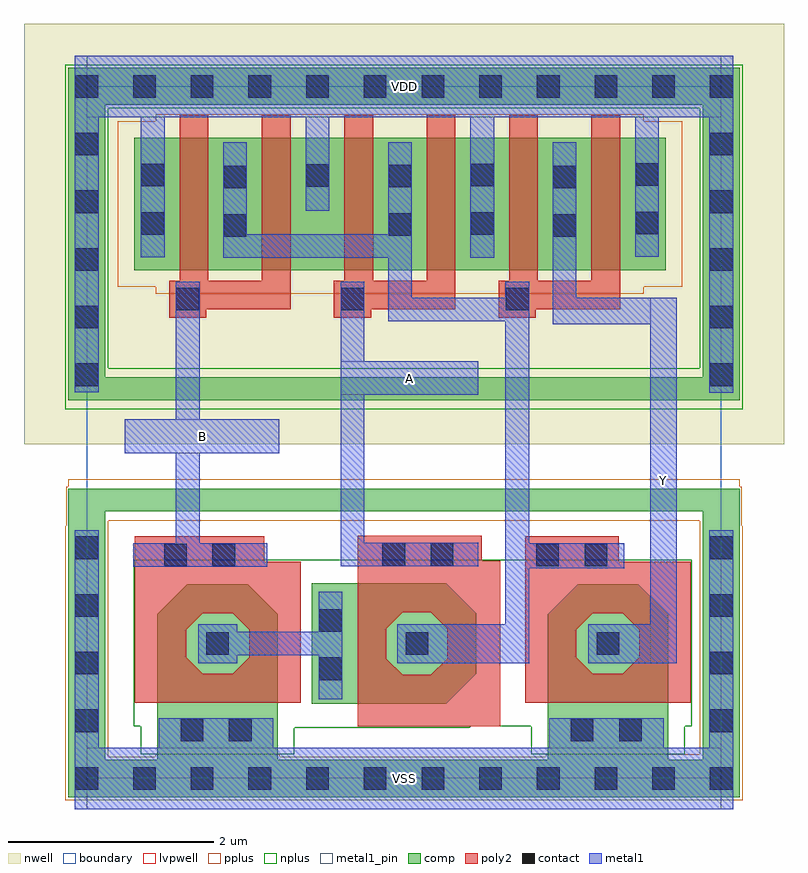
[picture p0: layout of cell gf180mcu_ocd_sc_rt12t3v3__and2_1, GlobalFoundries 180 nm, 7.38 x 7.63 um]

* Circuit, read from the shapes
.subckt gf180mcu_ocd_sc_rt12t3v3__and2_1 A B VDD VSS Y
XM1 n1 B VSS VSS nfet_03v3 w=1.785u l=0.5354u
XM2 n2 A n1 VSS nfet_03v3 w=1.785u l=0.5375u
XM3 Y n2 VSS VSS nfet_03v3 w=1.785u l=0.5347u
XM4 n2 B VDD VDD pfet_03v3 w=1.285u l=0.28u m=2
XM5 n2 A VDD VDD pfet_03v3 w=1.285u l=0.28u m=2
XM6 Y n2 VDD VDD pfet_03v3 w=1.285u l=0.28u m=2
.ends

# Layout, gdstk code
import gdstk
lib = gdstk.Library(unit=1e-6, precision=1e-09)
def R(c, l, rs):  # rectangles x0, y0, x1, y1
    for r in rs: c.add(gdstk.rectangle(r[:2], r[2:], *l))
def A(c, l, x, y, w, h, nx, ny, dx, dy):  # array of equal rectangles
    R(c, l, [(x+i*dx, y+j*dy, x+i*dx+w, y+j*dy+h) for i in range(nx) for j in range(ny)])
def P(c, l, *ps):  # polygons
    for p in ps: c.add(gdstk.Polygon(p, *l))
boundary = (0, 0)
nwell = (21, 0)
comp = (22, 0)
poly2 = (30, 0)
pplus = (31, 0)
nplus = (32, 0)
contact = (33, 0)
metal1 = (34, 0)
metal1_pin = (34, 10)
lvpwell = (204, 0)

gf180mcu_ocd_sc_rt12t3v3 = lib.new_cell('gf180mcu_ocd_sc_rt12t3v3__and2_1')
R(gf180mcu_ocd_sc_rt12t3v3, boundary, [(0,0,6.16,6.72)])
R(gf180mcu_ocd_sc_rt12t3v3, nwell, [(-0.61,3.245,6.77,7.33)])
R(gf180mcu_ocd_sc_rt12t3v3, comp, [(-0.18,-0.18,6.34,0.18), (-0.18,0.18,0.18,2.595), (0.685,0.18,1.855,1.595), (4.475,0.18,5.645,1.595), (5.98,0.18,6.34,2.595), (2.185,0.725,3.49,1.015), (2.185,1.015,3.78,1.605), (0.975,1.595,1.565,1.885), (4.675,1.595,5.355,1.795), (2.185,1.605,3.59,1.795), (2.185,1.795,3.49,1.895), (4.765,1.795,5.355,1.885), (-0.18,2.595,6.34,2.815), (-0.18,3.675,6.34,3.895), (-0.18,3.895,0.18,6.54), (5.98,3.895,6.34,6.54), (0.46,4.935,5.62,6.22), (-0.18,6.54,6.34,6.9)])
P(gf180mcu_ocd_sc_rt12t3v3, comp, [(0.685,1.595),(0.975,1.595),(0.975,1.885)],
  [(1.565,1.885),(1.565,1.595),(1.855,1.595)],
  [(3.49,1.895),(3.49,1.795),(3.59,1.795)],
  [(4.675,1.795),(4.765,1.795),(4.765,1.885)],
  [(3.59,1.795),(3.59,1.605),(3.78,1.605)],
  [(3.49,0.725),(3.49,1.015),(3.78,1.015)],
  [(4.475,1.595),(4.675,1.595),(4.675,1.795)],
  [(5.355,1.885),(5.355,1.595),(5.645,1.595)])
A(gf180mcu_ocd_sc_rt12t3v3, poly2, 0.8, 4.475, 0.36, 0.08, 3, 1, 1.6, 0)
A(gf180mcu_ocd_sc_rt12t3v3, poly2, 0.8, 4.555, 1.18, 0.28, 3, 1, 1.6, 0)
A(gf180mcu_ocd_sc_rt12t3v3, poly2, 0.9, 4.835, 0.28, 1.605, 6, 1, 0.8, 0)
R(gf180mcu_ocd_sc_rt12t3v3, poly2, [(2.63,0.505,4.015,1.005), (0.465,0.735,2.075,1.015), (4.255,0.735,5.865,1.015), (2.63,1.005,2.91,1.615), (3.49,1.005,4.015,1.155), (0.465,1.015,0.965,1.595), (1.575,1.015,2.075,1.595), (4.255,1.015,4.755,1.595), (5.365,1.015,5.865,1.595), (3.5,1.155,4.015,1.615), (0.465,1.595,1.115,1.605), (1.425,1.595,2.075,1.605), (4.255,1.595,4.905,1.605), (5.215,1.595,5.865,1.605), (0.465,1.605,2.075,2.105), (4.255,1.605,5.865,2.105), (2.63,1.615,4.015,2.115), (0.465,2.105,1.725,2.35), (4.255,2.105,5.165,2.35), (2.63,2.115,3.835,2.355)])
P(gf180mcu_ocd_sc_rt12t3v3, poly2, [(1.115,1.595),(1.115,1.605),(1.125,1.605)],
  [(1.415,1.605),(1.425,1.605),(1.425,1.595)],
  [(0.965,1.445),(0.965,1.595),(1.115,1.595)],
  [(1.425,1.595),(1.575,1.595),(1.575,1.445)],
  [(0.965,1.175),(0.965,1.015),(1.125,1.015)],
  [(1.415,1.015),(1.575,1.015),(1.575,1.175)],
  [(2.91,1.455),(2.91,1.615),(3.07,1.615)],
  [(3.34,1.615),(3.5,1.615),(3.5,1.455)],
  [(2.91,1.165),(2.91,1.005),(3.07,1.005)],
  [(3.49,1.155),(3.5,1.155),(3.5,1.165)],
  [(3.34,1.005),(3.49,1.005),(3.49,1.155)],
  [(4.905,1.595),(4.905,1.605),(4.915,1.605)],
  [(5.205,1.605),(5.215,1.605),(5.215,1.595)],
  [(4.755,1.445),(4.755,1.595),(4.905,1.595)],
  [(5.215,1.595),(5.365,1.595),(5.365,1.445)],
  [(4.755,1.175),(4.755,1.015),(4.915,1.015)],
  [(5.205,1.015),(5.365,1.015),(5.365,1.175)])
R(gf180mcu_ocd_sc_rt12t3v3, pplus, [(-0.21,-0.21,6.37,0.21), (-0.21,0.21,0.21,2.45), (0.665,0.21,1.875,0.235), (4.455,0.21,6.37,0.235), (5.95,0.235,6.37,2.45), (-0.2,2.45,0.21,2.505), (5.95,2.45,6.36,2.505), (-0.2,2.505,6.36,2.835), (-0.18,2.835,6.34,2.905), (0.67,4.705,5.41,4.775), (0.3,4.775,5.78,6.38), (0.67,6.38,5.41,6.45)])
R(gf180mcu_ocd_sc_rt12t3v3, nplus, [(0.525,0.235,2.015,0.495), (4.315,0.235,5.805,0.505), (0.525,0.495,3.72,0.505), (0.455,0.505,5.875,2.125), (-0.21,3.585,6.37,3.985), (-0.21,3.985,0.21,6.51), (5.95,3.985,6.37,6.51), (-0.21,6.51,6.37,6.93)])
P(gf180mcu_ocd_sc_rt12t3v3, nplus, [(3.72,0.495),(3.72,0.505),(3.73,0.505)])
A(gf180mcu_ocd_sc_rt12t3v3, contact, -0.11, -0.11, 0.22, 0.22, 12, 2, 0.56, 6.72)
A(gf180mcu_ocd_sc_rt12t3v3, contact, -0.11, 0.45, 0.22, 0.22, 1, 4, 0, 0.56)
A(gf180mcu_ocd_sc_rt12t3v3, contact, 6.05, 0.45, 0.22, 0.22, 1, 4, 0, 0.56)
A(gf180mcu_ocd_sc_rt12t3v3, contact, -0.11, 3.81, 0.22, 0.22, 1, 5, 0, 0.56)
A(gf180mcu_ocd_sc_rt12t3v3, contact, 6.05, 3.81, 0.22, 0.22, 1, 5, 0, 0.56)
A(gf180mcu_ocd_sc_rt12t3v3, contact, 0.87, 4.545, 0.22, 0.22, 3, 1, 1.6, 0)
R(gf180mcu_ocd_sc_rt12t3v3, contact, [(0.91,0.36,1.13,0.58), (1.38,0.36,1.6,0.58), (4.7,0.36,4.92,0.58), (5.17,0.36,5.39,0.58), (2.255,0.955,2.475,1.175), (1.16,1.2,1.38,1.42), (3.095,1.2,3.315,1.42), (4.95,1.2,5.17,1.42), (2.255,1.425,2.475,1.645), (0.75,2.06,0.97,2.28), (1.22,2.06,1.44,2.28), (4.365,2.06,4.585,2.28), (4.835,2.06,5.055,2.28), (2.87,2.065,3.09,2.285), (3.34,2.065,3.56,2.285), (1.33,5.26,1.55,5.48), (4.53,5.26,4.75,5.48), (2.93,5.27,3.15,5.49), (0.53,5.28,0.75,5.5), (3.73,5.28,3.95,5.5), (5.33,5.285,5.55,5.505), (1.33,5.73,1.55,5.95), (4.53,5.73,4.75,5.95), (2.93,5.74,3.15,5.96), (2.13,5.745,2.35,5.965), (0.53,5.75,0.75,5.97), (3.73,5.75,3.95,5.97), (5.33,5.755,5.55,5.975)])
R(gf180mcu_ocd_sc_rt12t3v3, metal1, [(-0.115,-0.3,6.275,0.3), (-0.115,0.3,0.115,2.41), (0.7,0.3,1.81,0.585), (4.49,0.3,5.6,0.585), (6.045,0.3,6.275,2.41), (2.25,0.77,2.48,1.195), (1.08,1.12,1.46,1.195), (3.015,1.12,4.295,1.5), (4.87,1.12,5.73,1.5), (1.08,1.195,2.48,1.425), (1.08,1.425,1.46,1.5), (2.25,1.425,2.48,1.815), (4.065,1.5,4.295,2.04), (5.47,1.5,5.73,4.41), (4.065,2.04,5.22,2.285), (0.45,2.055,1.75,2.285), (2.465,2.06,3.8,2.29), (0.865,2.285,1.095,3.16), (4.065,2.285,4.295,4.44), (2.465,2.29,2.695,3.725), (0.37,3.16,1.87,3.49), (0.865,3.49,1.095,4.825), (2.465,3.725,3.8,4.05), (6.045,3.745,6.275,6.42), (-0.115,3.75,0.115,6.42), (2.465,4.05,2.695,4.825), (4.525,4.41,5.73,4.67), (2.925,4.44,4.295,4.67), (2.925,4.67,3.155,5.055), (4.065,4.67,4.295,4.825), (4.525,4.67,4.755,6.18), (1.325,5.055,3.155,5.285), (3.725,5.055,3.955,6.42), (0.525,5.06,0.755,6.42), (5.325,5.065,5.555,6.42), (1.325,5.285,1.555,6.18), (2.925,5.285,3.155,6.18), (2.125,5.515,2.355,6.42), (-0.115,6.42,6.275,7.02)])
R(gf180mcu_ocd_sc_rt12t3v3, metal1_pin, [(0,-0.3,6.16,0.3), (5.47,1.12,5.73,4.67), (0.37,3.16,1.87,3.49), (2.465,3.725,3.8,4.05), (0,6.42,6.16,7.02)])
R(gf180mcu_ocd_sc_rt12t3v3, lvpwell, [(0,-0.3,6.16,-0.18), (-0.18,-0.18,6.34,2.815)])
gf180mcu_ocd_sc_rt12t3v3.add(gdstk.Label('A', (3.132,3.887), layer=34, texttype=10))
gf180mcu_ocd_sc_rt12t3v3.add(gdstk.Label('B', (1.12,3.325), layer=34, texttype=10))
gf180mcu_ocd_sc_rt12t3v3.add(gdstk.Label('Y', (5.6,2.895), layer=34, texttype=10))
gf180mcu_ocd_sc_rt12t3v3.add(gdstk.Label('VDD', (3.08,6.72), layer=34, texttype=10))
gf180mcu_ocd_sc_rt12t3v3.add(gdstk.Label('VSS', (3.08,0), layer=34, texttype=10))

lib.write_gds('gf180mcu_ocd_sc_rt12t3v3__and2_1.gds')
